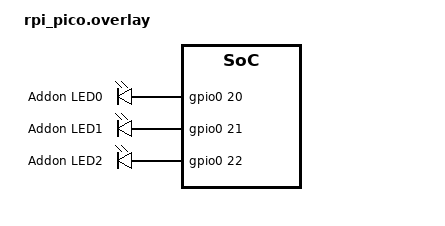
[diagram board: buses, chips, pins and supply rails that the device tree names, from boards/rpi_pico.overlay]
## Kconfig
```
mainmenu "my_zephyr_app Configuration"
source "Kconfig.zephyr"

menuconfig LED_SUBSYSTEM
    bool "LED Subsystem"
    default y
    help
      Enable the LED subsystem and its configuration options.

if LED_SUBSYSTEM

choice
    prompt "LED blink sleep time"
    default BLINK_SLEEP_1000MS

config BLINK_SLEEP_250MS
    bool "Fast (250ms)"

config BLINK_SLEEP_500MS
    bool "Quick (500ms)"

config BLINK_SLEEP_1000MS
    bool "Medium (1s)"

config BLINK_SLEEP_2000MS
    bool "Slow (2s)"

endchoice

config BLINK_SLEEP_TIME_MS
    int
    default 250 if BLINK_SLEEP_250MS
    default 500 if BLINK_SLEEP_500MS
    default 1000 if BLINK_SLEEP_1000MS
    default 2000 if BLINK_SLEEP_2000MS
    default 1000

menuconfig LED_ADVANCED
    bool "Advanced LED settings"
    default n
    help
      Enable advanced LED configuration options.

if LED_ADVANCED

menu "LED settings"

config LED_BRIGHTNESS
    int "LED brightness (0-100)"
    range 0 100
    default 100

config LED_FADE_DURATION_MS
    int "LED fade duration (ms)"
    range 0 5000
    default 500

endmenu

menu "Expert settings"
    visible if LED_ADVANCED

config LED_DEBUG
    bool "Enable LED debugging"
    default n

config LED_CUSTOM_PATTERN
    bool "Custom blink pattern"
    default n

endmenu

endif # LED_ADVANCED

endif # LED_SUBSYSTEM

config APP_HEARTBEAT_PERIOD_MS
    int "Heartbeat LED period (ms)"
    default 500
    range 100 2000
    help
      Sets the heartbeat LED blink period in milliseconds.
```

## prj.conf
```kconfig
CONFIG_GPIO=y
CONFIG_LOG=y
CONFIG_CPP=y
CONFIG_APP_HEARTBEAT_PERIOD_MS=1000
```

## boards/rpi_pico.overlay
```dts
/ {
    leds {
        addon_led0: addon_led_0 {
            gpios = <&gpio0 20 GPIO_ACTIVE_HIGH>;
            label = "Addon LED0";
        };

        addon_led1: addon_led_1 {
            gpios = <&gpio0 21 GPIO_ACTIVE_HIGH>;
            label = "Addon LED1";
        };

        addon_led2: addon_led_2 {
            gpios = <&gpio0 22 GPIO_ACTIVE_HIGH>;
            label = "Addon LED2";
        };
    };

    aliases {
        app-led = &addon_led0;
    };
};
```

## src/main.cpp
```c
#include <zephyr/drivers/gpio.h>
#include <zephyr/kernel.h>
#include <zephyr/logging/log.h>

#define LED_NODE DT_ALIAS(app_led)

static const struct gpio_dt_spec led =
    GPIO_DT_SPEC_GET(LED_NODE, gpios);

LOG_MODULE_REGISTER(main, LOG_LEVEL_INF);

int main(void)
{
    bool led_state = true;

    if (!gpio_is_ready_dt(&led)) {
        return 0;
    }

    if (gpio_pin_configure_dt(&led, GPIO_OUTPUT_ACTIVE) < 0) {
        return 0;
    }

    while (true) {
        if (gpio_pin_toggle_dt(&led) < 0) {
            return 0;
        }

        led_state = !led_state;
        LOG_INF("LED state: %s", led_state ? "ON" : "OFF");

        k_msleep(CONFIG_APP_HEARTBEAT_PERIOD_MS);
    }

    return 0;
}
```
